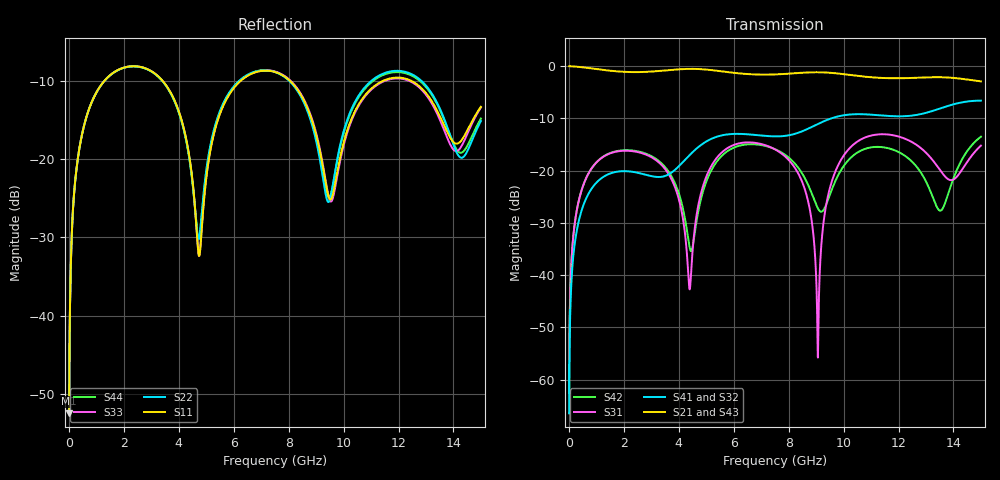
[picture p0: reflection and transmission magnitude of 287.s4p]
! Created with skrf 1.8.0 (http://scikit-rf.org).
# GHz S RI R 50.0
!freq ReS11 ImS11 ReS12 ImS12 ReS13 ImS13
! ReS14 ImS14
! ReS21 ImS21 ReS22 ImS22 ReS23 ImS23
! ReS24 ImS24
! ReS31 ImS31 ReS32 ImS32 ReS33 ImS33
! ReS34 ImS34
! ReS41 ImS41 ReS42 ImS42 ReS43 ImS43
! ReS44 ImS44
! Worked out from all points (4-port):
!   2499 points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, 5 MHz to 15 GHz, reference 50 ohm
!   strongest paths, dB at 5 MHz, 3.476 GHz, 7.19 GHz, 11.1 GHz, 15 GHz:
!     S21: 0.0, -0.9, -1.6, -2.2, -2.9
!     S43: 0.0, -0.9, -1.6, -2.2, -2.9
!     S41: -66.4, -21.1, -13.4, -9.3, -6.6
!     S32: -66.4, -21.1, -13.4, -9.4, -6.6
!     S31: -62.5, -19.5, -15.2, -13.2, -15.2
!     S42: -62.5, -19.2, -15.3, -15.5, -13.5
!   lowest |S11| = -52.5 dB at 5 MHz (marker M1), VSWR 1.00, Z = 50.2 + j0.144 ohm
!   |S11| at or under -10 dB: 3.415 GHz to 6.244 GHz (2.829 GHz wide, 58.6 % of centre); 8.055 GHz to 11.42 GHz (3.364 GHz wide, 34.6 % of centre); 12.48 GHz to end of sweep (the widest 3 of 4)
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0.005  0.00189 0.00144  0.9981 -0.00368  9.56e-05 0.000743  -9.29e-05 -0.000468
       0.9981 -0.00368  0.00189 0.00144  -9.29e-05 -0.000468  9.57e-05 0.000743
       9.56e-05 0.000743  -9.29e-05 -0.000468  0.00189 0.00144  0.9981 -0.00368
       -9.29e-05 -0.000468  9.57e-05 0.000743  0.9981 -0.00368  0.00189 0.00144
1.369321  0.2774 0.1756  0.5356 -0.7368  0.1276 0.0609  -0.0906 -0.00396
          0.5356 -0.7368  0.2765 0.1763  -0.0905 -0.00407  0.1303 0.0571
          0.1276 0.0609  -0.0905 -0.00407  0.2775 0.1756  0.5357 -0.7367
          -0.0906 -0.00396  0.1303 0.0571  0.5357 -0.7367  0.2764 0.1764
4.827011  0.0265 0.0217  -0.9336 -0.00153  0.0262 0.0579  0.0072 0.1772
          -0.9336 -0.00153  0.034 0.0267  0.00548 0.1772  0.00103 0.0561
          0.0262 0.0579  0.00548 0.1772  0.0267 0.0225  -0.9336 -0.00138
          0.0072 0.1772  0.00103 0.0561  -0.9336 -0.00138  0.0339 0.0273
7.928303  0.3042 -0.1286  0.2939 0.7906  0.0847 -0.1016  0.1796 -0.1199
          0.2939 0.7906  0.2996 -0.1327  0.181 -0.1157  0.0764 -0.115
          0.0847 -0.1016  0.181 -0.1157  0.3063 -0.1317  0.2929 0.7901
          0.1796 -0.1199  0.0764 -0.115  0.2929 0.7901  0.3024 -0.1309
9.060025  0.0848 -0.0985  0.7825 0.3866  -0.00162 -0.000376  0.1137 -0.2547
          0.7825 0.3866  0.0778 -0.0875  0.1193 -0.252  -0.0403 -0.0171
          -0.00162 -0.000376  0.1193 -0.252  0.0844 -0.1035  0.7812 0.3882
          0.1137 -0.2547  -0.0403 -0.0171  0.7812 0.3882  0.0826 -0.09
10.27928  0.1325 0.1212  0.7634 -0.298  0.1524 0.0754  -0.1629 -0.3041
          0.7634 -0.298  0.1516 0.1421  -0.1562 -0.3069  0.0929 0.0968
          0.1524 0.0754  -0.1562 -0.3069  0.1296 0.1175  0.7653 -0.2962
          -0.1629 -0.3041  0.0929 0.0968  0.7653 -0.2962  0.1499 0.1359
15  0.1985 0.0867  -0.6954 0.1645  0.1144 0.1303  0.1662 0.4367
    -0.6954 0.1645  0.1601 0.072  0.1525 0.4427  0.1589 0.1387
    0.1144 0.1303  0.1525 0.4427  0.1913 0.0962  -0.6951 0.1645
    0.1662 0.4367  0.1589 0.1387  -0.6951 0.1645  0.1679 0.0706
